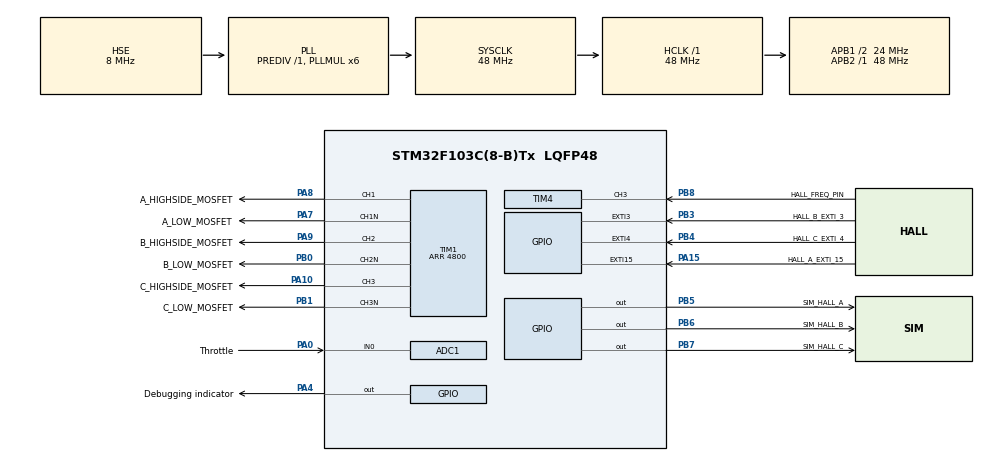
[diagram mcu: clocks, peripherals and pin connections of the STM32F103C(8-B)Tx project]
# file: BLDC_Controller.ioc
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ADC1.Channel-0\#ChannelRegularConversion=ADC_CHANNEL_0
ADC1.ExternalTrigConv=ADC_EXTERNALTRIGCONV_T3_TRGO
ADC1.NbrOfConversionFlag=1
ADC1.Rank-0\#ChannelRegularConversion=1
ADC1.SamplingTime-0\#ChannelRegularConversion=ADC_SAMPLETIME_1CYCLE_5
ADC1.master=1
Mcu.Family=STM32F1
Mcu.Name=STM32F103C(8-B)Tx
Mcu.Package=LQFP48
NVIC.ADC1_2_IRQn=true\:0\:0\:false\:false\:true\:true\:true\:true
NVIC.EXTI15_10_IRQn=true\:0\:0\:false\:false\:true\:true\:true\:true
NVIC.EXTI3_IRQn=true\:0\:0\:false\:false\:true\:true\:true\:true
NVIC.EXTI4_IRQn=true\:0\:0\:false\:false\:true\:true\:true\:true
NVIC.PriorityGroup=NVIC_PRIORITYGROUP_4
NVIC.TIM2_IRQn=true\:0\:0\:false\:false\:true\:true\:true\:true
NVIC.TIM4_IRQn=true\:0\:0\:false\:false\:true\:true\:true\:true
PA0-WKUP.GPIO_Label=Throttle
PA0-WKUP.Signal=ADCx_IN0
PA10.GPIO_Label=C_HIGHSIDE_MOSFET
PA10.Signal=S_TIM1_CH3
PA13.Mode=Serial_Wire
PA13.Signal=SYS_JTMS-SWDIO
PA14.Mode=Serial_Wire
PA14.Signal=SYS_JTCK-SWCLK
PA15.GPIO_Label=HALL_A_EXTI_15
PA15.GPIO_ModeDefaultEXTI=GPIO_MODE_IT_RISING_FALLING
PA15.GPIO_PuPd=GPIO_PULLUP
PA15.Signal=GPXTI15
PA4.GPIO_Label=Debugging indicator 
PA4.GPIO_Speed=GPIO_SPEED_FREQ_HIGH
PA4.Signal=GPIO_Output
PA7.GPIO_Label=A_LOW_MOSFET
PA7.Mode=PWM Generation1 CH1 CH1N
PA7.Signal=TIM1_CH1N
PA8.GPIO_Label=A_HIGHSIDE_MOSFET
PA8.Signal=S_TIM1_CH1
PA9.GPIO_Label=B_HIGHSIDE_MOSFET
PA9.Signal=S_TIM1_CH2
PB0.GPIO_Label=B_LOW_MOSFET
PB0.Mode=PWM Generation2 CH2 CH2N
PB0.Signal=TIM1_CH2N
PB1.GPIO_Label=C_LOW_MOSFET
PB1.Mode=PWM Generation3 CH3 CH3N
PB1.Signal=TIM1_CH3N
PB3.GPIO_Label=HALL_B_EXTI_3
PB3.GPIO_ModeDefaultEXTI=GPIO_MODE_IT_RISING_FALLING
PB3.GPIO_PuPd=GPIO_PULLUP
PB3.Signal=GPXTI3
PB4.GPIO_Label=HALL_C_EXTI_4
PB4.GPIO_ModeDefaultEXTI=GPIO_MODE_IT_RISING_FALLING
PB4.GPIO_PuPd=GPIO_PULLUP
PB4.Signal=GPXTI4
PB5.GPIO_Label=SIM_HALL_A
PB5.GPIO_Speed=GPIO_SPEED_FREQ_HIGH
PB5.PinState=GPIO_PIN_SET
PB5.Signal=GPIO_Output
PB6.GPIO_Label=SIM_HALL_B
PB6.GPIO_PuPd=GPIO_NOPULL
PB6.GPIO_Speed=GPIO_SPEED_FREQ_HIGH
PB6.PinState=GPIO_PIN_SET
PB6.Signal=GPIO_Output
PB7.GPIO_Label=SIM_HALL_C
PB7.GPIO_PuPd=GPIO_NOPULL
PB7.GPIO_Speed=GPIO_SPEED_FREQ_HIGH
PB7.PinState=GPIO_PIN_SET
PB7.Signal=GPIO_Output
PB8.GPIO_Label=HALL_FREQ_PIN
PB8.Signal=S_TIM4_CH3
PD0-OSC_IN.Mode=HSE-External-Oscillator
PD0-OSC_IN.Signal=RCC_OSC_IN
PD1-OSC_OUT.Mode=HSE-External-Oscillator
PD1-OSC_OUT.Signal=RCC_OSC_OUT
ProjectManager.HeapSize=0x200
ProjectManager.StackSize=0x400
ProjectManager.TargetToolchain=STM32CubeIDE
RCC.ADCPresc=RCC_ADCPCLK2_DIV4
RCC.AHBFreq_Value=48000000
RCC.APB1CLKDivider=RCC_HCLK_DIV2
RCC.APB1Freq_Value=24000000
RCC.APB1TimFreq_Value=48000000
RCC.APB2Freq_Value=48000000
RCC.APB2TimFreq_Value=48000000
RCC.HCLKFreq_Value=48000000
RCC.PLLMUL=RCC_PLL_MUL6
RCC.PLLSourceVirtual=RCC_PLLSOURCE_HSE
RCC.SYSCLKFreq_VALUE=48000000
RCC.SYSCLKSource=RCC_SYSCLKSOURCE_PLLCLK
RCC.USBFreq_Value=48000000
SH.ADCx_IN0.0=ADC1_IN0,IN0
SH.S_TIM1_CH1.0=TIM1_CH1,PWM Generation1 CH1 CH1N
SH.S_TIM1_CH2.0=TIM1_CH2,PWM Generation2 CH2 CH2N
SH.S_TIM1_CH3.0=TIM1_CH3,PWM Generation3 CH3 CH3N
SH.S_TIM4_CH3.0=TIM4_CH3,Input_Capture3_from_TI3
TIM1.Channel-PWM\ Generation1\ CH1\ CH1N=TIM_CHANNEL_1
TIM1.Channel-PWM\ Generation2\ CH2\ CH2N=TIM_CHANNEL_2
TIM1.Channel-PWM\ Generation3\ CH3\ CH3N=TIM_CHANNEL_3
TIM1.OCNIdleState_1=TIM_OCNIDLESTATE_RESET
TIM1.OCNIdleState_2=TIM_OCNIDLESTATE_RESET
TIM1.OCNIdleState_3=TIM_OCNIDLESTATE_RESET
TIM1.Period=4800
TIM2.AutoReloadPreload=TIM_AUTORELOAD_PRELOAD_ENABLE
TIM2.Period=733-1
TIM2.Prescaler=0
TIM3.Channel-PWM\ Generation1\ No\ Output=TIM_CHANNEL_1
TIM3.Period=49999
TIM3.Prescaler=63
TIM3.TIM_MasterOutputTrigger=TIM_TRGO_UPDATE
TIM4.Channel-Input_Capture3_from_TI3=TIM_CHANNEL_3
TIM4.Prescaler=734-1
VP_TIM1_VS_ClockSourceINT.Mode=Internal
VP_TIM2_VS_ClockSourceINT.Mode=Internal
VP_TIM3_VS_ClockSourceINT.Mode=Internal
VP_TIM3_VS_no_output1.Mode=PWM Generation1 No Output
VP_TIM4_VS_ClockSourceINT.Mode=Internal
board=custom

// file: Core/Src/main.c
/* USER CODE BEGIN Header */
/**
 ******************************************************************************
 * @file           : main.c
 * @brief          : Main program body
 ******************************************************************************
 * @attention
 *
 * Copyright (c) 2024 STMicroelectronics.
 * All rights reserved.
 *
 * This software is licensed under terms that can be found in the LICENSE file
 * in the root directory of this software component.
 * If no LICENSE file comes with this software, it is provided AS-IS.
 *
 ******************************************************************************
 */
/* USER CODE END Header */
#include "main.h"

/* USER CODE BEGIN Includes */

#include "../../hall_sensor/hall_sensor.h"
#include "../../motor_utils/motor_driver.h"

/* USER CODE END Includes */

/* USER CODE BEGIN PD */

/* ICU PD */
#define ICU_TIMCLOCK 48000000
#define ICU_TIMEOUT_COUNTS 2

/* TIM2 PD*/
#define TIM2_CLOCKRATE 48000000
#define TIM2_ARR 733

/* USER CODE END PD */

ADC_HandleTypeDef hadc1;

TIM_HandleTypeDef htim1;
TIM_HandleTypeDef htim2;
TIM_HandleTypeDef htim3;
TIM_HandleTypeDef htim4;

void SystemClock_Config(void);
static void MX_GPIO_Init(void);
static void MX_ADC1_Init(void);
static void MX_TIM1_Init(void);
static void MX_TIM3_Init(void);
static void MX_TIM2_Init(void);
static void MX_TIM4_Init(void);

/* USER CODE BEGIN 0 */

/*
 * Fetches speed % reading from throttle piece
 * Reads ADC data and remaps it to a percentage
 * @retval
 * */
uint8_t poll_speed();

/*
 * Initializes the pinouts and necessary software configs
 * of electrical phases and gate drivers of the motor inverter
 */
void init_inverter();
/**
 * Initializes the required configurations for 180 Commutation
 */
void init_commutation180();
// GLOBAL VARIABLES
HALL_SENSOR hs1, hs2, hs3;
HALL_STATE hstate;

volatile uint8_t Throttle_percent = 0;

/* ICU Variables */
volatile float hall_frequency = 0;
volatile float motor_rpm = 0;
volatile uint8_t ICU_timeout_count = 0;

/* Electrical objects */
// 6 mosfet gate drivers..
MOS_gate high_sides[3];
MOS_gate low_sides[3];

// 3 phases
Phase phases[3];

/* USER CODE END 0 */

int main(void)
{

  /* MCU Configuration--------------------------------------------------------*/

  /* Reset of all peripherals, Initializes the Flash interface and the Systick. */
  HAL_Init();

  /* Configure the system clock */
  SystemClock_Config();

  /* Initialize all configured peripherals */
  MX_GPIO_Init();
  MX_ADC1_Init();
  MX_TIM1_Init();
  MX_TIM3_Init();
  MX_TIM2_Init();
  MX_TIM4_Init();
  /* USER CODE BEGIN 2 */

	init_hall_sensor(&hs1, GPIOA, GPIO_PIN_15);
	init_hall_sensor(&hs2, GPIOB, GPIO_PIN_3);
	init_hall_sensor(&hs3, GPIOB, GPIO_PIN_4);

	HAL_TIM_Base_Start(&htim3); // Start Timer3 (Trigger Source For ADC1)
	HAL_ADC_Start_IT(&hadc1);   // 	Start ADC Conversion
	HAL_TIM_Base_Start_IT(&htim2);
	HAL_TIM_IC_Start_IT(&htim4, TIM_CHANNEL_3);

	init_inverter();
	init_commutation180();
	//start_pwm(&phases[0]);

  /* USER CODE END 2 */

  /* Infinite loop */
	while (1)
	{

    /* USER CODE BEGIN 3 */
		//set_phase_pwm_DC(&phases[0], 50);
    	//HAL_Delay(100);
    	/*set_phase_pwm_DC(&phases[0], 60);
    	HAL_Delay(100);
    	set_phase_pwm_DC(&phases[0], 100);
    	HAL_Delay(100);*/
	}
  /* USER CODE END 3 */
}

void SystemClock_Config(void)
{
  RCC_OscInitTypeDef RCC_OscInitStruct = {0};
  RCC_ClkInitTypeDef RCC_ClkInitStruct = {0};
  RCC_PeriphCLKInitTypeDef PeriphClkInit = {0};

  /** Initializes the RCC Oscillators according to the specified parameters
  * in the RCC_OscInitTypeDef structure.
  */
  RCC_OscInitStruct.OscillatorType = RCC_OSCILLATORTYPE_HSE;
  RCC_OscInitStruct.HSEState = RCC_HSE_ON;
  RCC_OscInitStruct.HSEPredivValue = RCC_HSE_PREDIV_DIV1;
  RCC_OscInitStruct.HSIState = RCC_HSI_ON;
  RCC_OscInitStruct.PLL.PLLState = RCC_PLL_ON;
  RCC_OscInitStruct.PLL.PLLSource = RCC_PLLSOURCE_HSE;
  RCC_OscInitStruct.PLL.PLLMUL = RCC_PLL_MUL6;
  if (HAL_RCC_OscConfig(&RCC_OscInitStruct) != HAL_OK)
  {
    Error_Handler();
  }

  /** Initializes the CPU, AHB and APB buses clocks
  */
  RCC_ClkInitStruct.ClockType = RCC_CLOCKTYPE_HCLK|RCC_CLOCKTYPE_SYSCLK
                              |RCC_CLOCKTYPE_PCLK1|RCC_CLOCKTYPE_PCLK2;
  RCC_ClkInitStruct.SYSCLKSource = RCC_SYSCLKSOURCE_PLLCLK;
  RCC_ClkInitStruct.AHBCLKDivider = RCC_SYSCLK_DIV1;
  RCC_ClkInitStruct.APB1CLKDivider = RCC_HCLK_DIV2;
  RCC_ClkInitStruct.APB2CLKDivider = RCC_HCLK_DIV1;

  if (HAL_RCC_ClockConfig(&RCC_ClkInitStruct, FLASH_LATENCY_1) != HAL_OK)
  {
    Error_Handler();
  }
  PeriphClkInit.PeriphClockSelection = RCC_PERIPHCLK_ADC;
  PeriphClkInit.AdcClockSelection = RCC_ADCPCLK2_DIV4;
  if (HAL_RCCEx_PeriphCLKConfig(&PeriphClkInit) != HAL_OK)
  {
    Error_Handler();
  }
}

static void MX_ADC1_Init(void)
{

  ADC_ChannelConfTypeDef sConfig = {0};

  /** Common config
  */
  hadc1.Instance = ADC1;
  hadc1.Init.ScanConvMode = ADC_SCAN_DISABLE;
  hadc1.Init.ContinuousConvMode = DISABLE;
  hadc1.Init.DiscontinuousConvMode = DISABLE;
  hadc1.Init.ExternalTrigConv = ADC_EXTERNALTRIGCONV_T3_TRGO;
  hadc1.Init.DataAlign = ADC_DATAALIGN_RIGHT;
  hadc1.Init.NbrOfConversion = 1;
  if (HAL_ADC_Init(&hadc1) != HAL_OK)
  {
    Error_Handler();
  }

  /** Configure Regular Channel
  */
  sConfig.Channel = ADC_CHANNEL_0;
  sConfig.Rank = ADC_REGULAR_RANK_1;
  sConfig.SamplingTime = ADC_SAMPLETIME_1CYCLE_5;
  if (HAL_ADC_ConfigChannel(&hadc1, &sConfig) != HAL_OK)
  {
    Error_Handler();
  }

}

static void MX_TIM1_Init(void)
{

  TIM_ClockConfigTypeDef sClockSourceConfig = {0};
  TIM_MasterConfigTypeDef sMasterConfig = {0};
  TIM_OC_InitTypeDef sConfigOC = {0};
  TIM_BreakDeadTimeConfigTypeDef sBreakDeadTimeConfig = {0};

  htim1.Instance = TIM1;
  htim1.Init.Prescaler = 0;
  htim1.Init.CounterMode = TIM_COUNTERMODE_UP;
  htim1.Init.Period = 4800;
  htim1.Init.ClockDivision = TIM_CLOCKDIVISION_DIV1;
  htim1.Init.RepetitionCounter = 0;
  htim1.Init.AutoReloadPreload = TIM_AUTORELOAD_PRELOAD_DISABLE;
  if (HAL_TIM_Base_Init(&htim1) != HAL_OK)
  {
    Error_Handler();
  }
  sClockSourceConfig.ClockSource = TIM_CLOCKSOURCE_INTERNAL;
  if (HAL_TIM_ConfigClockSource(&htim1, &sClockSourceConfig) != HAL_OK)
  {
    Error_Handler();
  }
  if (HAL_TIM_PWM_Init(&htim1) != HAL_OK)
  {
    Error_Handler();
  }
  sMasterConfig.MasterOutputTrigger = TIM_TRGO_RESET;
  sMasterConfig.MasterSlaveMode = TIM_MASTERSLAVEMODE_DISABLE;
  if (HAL_TIMEx_MasterConfigSynchronization(&htim1, &sMasterConfig) != HAL_OK)
  {
    Error_Handler();
  }
  sConfigOC.OCMode = TIM_OCMODE_PWM1;
  sConfigOC.Pulse = 0;
  sConfigOC.OCPolarity = TIM_OCPOLARITY_HIGH;
  sConfigOC.OCNPolarity = TIM_OCNPOLARITY_HIGH;
  sConfigOC.OCFastMode = TIM_OCFAST_DISABLE;
  sConfigOC.OCIdleState = TIM_OCIDLESTATE_RESET;
  sConfigOC.OCNIdleState = TIM_OCNIDLESTATE_RESET;
  if (HAL_TIM_PWM_ConfigChannel(&htim1, &sConfigOC, TIM_CHANNEL_1) != HAL_OK)
  {
    Error_Handler();
  }
  if (HAL_TIM_PWM_ConfigChannel(&htim1, &sConfigOC, TIM_CHANNEL_2) != HAL_OK)
  {
    Error_Handler();
  }
  if (HAL_TIM_PWM_ConfigChannel(&htim1, &sConfigOC, TIM_CHANNEL_3) != HAL_OK)
  {
    Error_Handler();
  }
  sBreakDeadTimeConfig.OffStateRunMode = TIM_OSSR_DISABLE;
  sBreakDeadTimeConfig.OffStateIDLEMode = TIM_OSSI_DISABLE;
  sBreakDeadTimeConfig.LockLevel = TIM_LOCKLEVEL_OFF;
  sBreakDeadTimeConfig.DeadTime = 0;
  sBreakDeadTimeConfig.BreakState = TIM_BREAK_DISABLE;
  sBreakDeadTimeConfig.BreakPolarity = TIM_BREAKPOLARITY_HIGH;
  sBreakDeadTimeConfig.AutomaticOutput = TIM_AUTOMATICOUTPUT_DISABLE;
  if (HAL_TIMEx_ConfigBreakDeadTime(&htim1, &sBreakDeadTimeConfig) != HAL_OK)
  {
    Error_Handler();
  }
  HAL_TIM_MspPostInit(&htim1);

}

static void MX_TIM2_Init(void)
{

  TIM_ClockConfigTypeDef sClockSourceConfig = {0};
  TIM_MasterConfigTypeDef sMasterConfig = {0};

  htim2.Instance = TIM2;
  htim2.Init.Prescaler = 0;
  htim2.Init.CounterMode = TIM_COUNTERMODE_UP;
  htim2.Init.Period = 733-1;
  htim2.Init.ClockDivision = TIM_CLOCKDIVISION_DIV1;
  htim2.Init.AutoReloadPreload = TIM_AUTORELOAD_PRELOAD_ENABLE;
  if (HAL_TIM_Base_Init(&htim2) != HAL_OK)
  {
    Error_Handler();
  }
  sClockSourceConfig.ClockSource = TIM_CLOCKSOURCE_INTERNAL;
  if (HAL_TIM_ConfigClockSource(&htim2, &sClockSourceConfig) != HAL_OK)
  {
    Error_Handler();
  }
  sMasterConfig.MasterOutputTrigger = TIM_TRGO_RESET;
  sMasterConfig.MasterSlaveMode = TIM_MASTERSLAVEMODE_DISABLE;
  if (HAL_TIMEx_MasterConfigSynchronization(&htim2, &sMasterConfig) != HAL_OK)
  {
    Error_Handler();
  }

}

static void MX_TIM3_Init(void)
{

  TIM_ClockConfigTypeDef sClockSourceConfig = {0};
  TIM_MasterConfigTypeDef sMasterConfig = {0};
  TIM_OC_InitTypeDef sConfigOC = {0};

  htim3.Instance = TIM3;
  htim3.Init.Prescaler = 63;
  htim3.Init.CounterMode = TIM_COUNTERMODE_UP;
  htim3.Init.Period = 49999;
  htim3.Init.ClockDivision = TIM_CLOCKDIVISION_DIV1;
  htim3.Init.AutoReloadPreload = TIM_AUTORELOAD_PRELOAD_DISABLE;
  if (HAL_TIM_Base_Init(&htim3) != HAL_OK)
  {
    Error_Handler();
  }
  sClockSourceConfig.ClockSource = TIM_CLOCKSOURCE_INTERNAL;
  if (HAL_TIM_ConfigClockSource(&htim3, &sClockSourceConfig) != HAL_OK)
  {
    Error_Handler();
  }
  if (HAL_TIM_PWM_Init(&htim3) != HAL_OK)
  {
    Error_Handler();
  }
  sMasterConfig.MasterOutputTrigger = TIM_TRGO_UPDATE;
  sMasterConfig.MasterSlaveMode = TIM_MASTERSLAVEMODE_DISABLE;
  if (HAL_TIMEx_MasterConfigSynchronization(&htim3, &sMasterConfig) != HAL_OK)
  {
    Error_Handler();
  }
  sConfigOC.OCMode = TIM_OCMODE_PWM1;
  sConfigOC.Pulse = 0;
  sConfigOC.OCPolarity = TIM_OCPOLARITY_HIGH;
  sConfigOC.OCFastMode = TIM_OCFAST_DISABLE;
  if (HAL_TIM_PWM_ConfigChannel(&htim3, &sConfigOC, TIM_CHANNEL_1) != HAL_OK)
  {
    Error_Handler();
  }

}

static void MX_TIM4_Init(void)
{

  TIM_ClockConfigTypeDef sClockSourceConfig = {0};
  TIM_MasterConfigTypeDef sMasterConfig = {0};
  TIM_IC_InitTypeDef sConfigIC = {0};

  htim4.Instance = TIM4;
  htim4.Init.Prescaler = 734-1;
  htim4.Init.CounterMode = TIM_COUNTERMODE_UP;
  htim4.Init.Period = 65535;
  htim4.Init.ClockDivision = TIM_CLOCKDIVISION_DIV1;
  htim4.Init.AutoReloadPreload = TIM_AUTORELOAD_PRELOAD_DISABLE;
  if (HAL_TIM_Base_Init(&htim4) != HAL_OK)
  {
    Error_Handler();
  }
  sClockSourceConfig.ClockSource = TIM_CLOCKSOURCE_INTERNAL;
  if (HAL_TIM_ConfigClockSource(&htim4, &sClockSourceConfig) != HAL_OK)
  {
    Error_Handler();
  }
  if (HAL_TIM_IC_Init(&htim4) != HAL_OK)
  {
    Error_Handler();
  }
  sMasterConfig.MasterOutputTrigger = TIM_TRGO_RESET;
  sMasterConfig.MasterSlaveMode = TIM_MASTERSLAVEMODE_DISABLE;
  if (HAL_TIMEx_MasterConfigSynchronization(&htim4, &sMasterConfig) != HAL_OK)
  {
    Error_Handler();
  }
  sConfigIC.ICPolarity = TIM_INPUTCHANNELPOLARITY_RISING;
  sConfigIC.ICSelection = TIM_ICSELECTION_DIRECTTI;
  sConfigIC.ICPrescaler = TIM_ICPSC_DIV1;
  sConfigIC.ICFilter = 0;
  if (HAL_TIM_IC_ConfigChannel(&htim4, &sConfigIC, TIM_CHANNEL_3) != HAL_OK)
  {
    Error_Handler();
  }
  /* USER CODE BEGIN TIM4_Init 2 */
	// Enable update interrupt
	__HAL_TIM_ENABLE_IT(&htim4, TIM_IT_UPDATE);
  /* USER CODE END TIM4_Init 2 */

}

static void MX_GPIO_Init(void)
{
  GPIO_InitTypeDef GPIO_InitStruct = {0};

  /* GPIO Ports Clock Enable */
  __HAL_RCC_GPIOD_CLK_ENABLE();
  __HAL_RCC_GPIOA_CLK_ENABLE();
  __HAL_RCC_GPIOB_CLK_ENABLE();

  /*Configure GPIO pin Output Level */
  HAL_GPIO_WritePin(Debugging_indicator_GPIO_Port, Debugging_indicator_Pin, GPIO_PIN_RESET);

  /*Configure GPIO pin Output Level */
  HAL_GPIO_WritePin(GPIOB, SIM_HALL_A_Pin|SIM_HALL_B_Pin|SIM_HALL_C_Pin, GPIO_PIN_SET);

  /*Configure GPIO pin : Debugging_indicator_Pin */
  GPIO_InitStruct.Pin = Debugging_indicator_Pin;
  GPIO_InitStruct.Mode = GPIO_MODE_OUTPUT_PP;
  GPIO_InitStruct.Pull = GPIO_NOPULL;
  GPIO_InitStruct.Speed = GPIO_SPEED_FREQ_HIGH;
  HAL_GPIO_Init(Debugging_indicator_GPIO_Port, &GPIO_InitStruct);

  /*Configure GPIO pin : HALL_A_EXTI_15_Pin */
  GPIO_InitStruct.Pin = HALL_A_EXTI_15_Pin;
  GPIO_InitStruct.Mode = GPIO_MODE_IT_RISING_FALLING;
  GPIO_InitStruct.Pull = GPIO_PULLUP;
  HAL_GPIO_Init(HALL_A_EXTI_15_GPIO_Port, &GPIO_InitStruct);

  /*Configure GPIO pins : HALL_B_EXTI_3_Pin HALL_C_EXTI_4_Pin */
  GPIO_InitStruct.Pin = HALL_B_EXTI_3_Pin|HALL_C_EXTI_4_Pin;
  GPIO_InitStruct.Mode = GPIO_MODE_IT_RISING_FALLING;
  GPIO_InitStruct.Pull = GPIO_PULLUP;
  HAL_GPIO_Init(GPIOB, &GPIO_InitStruct);

  /*Configure GPIO pins : SIM_HALL_A_Pin SIM_HALL_B_Pin SIM_HALL_C_Pin */
  GPIO_InitStruct.Pin = SIM_HALL_A_Pin|SIM_HALL_B_Pin|SIM_HALL_C_Pin;
  GPIO_InitStruct.Mode = GPIO_MODE_OUTPUT_PP;
  GPIO_InitStruct.Pull = GPIO_NOPULL;
  GPIO_InitStruct.Speed = GPIO_SPEED_FREQ_HIGH;
  HAL_GPIO_Init(GPIOB, &GPIO_InitStruct);

  /* EXTI interrupt init*/
  HAL_NVIC_SetPriority(EXTI3_IRQn, 0, 0);
  HAL_NVIC_EnableIRQ(EXTI3_IRQn);

  HAL_NVIC_SetPriority(EXTI4_IRQn, 0, 0);
  HAL_NVIC_EnableIRQ(EXTI4_IRQn);

  HAL_NVIC_SetPriority(EXTI15_10_IRQn, 0, 0);
  HAL_NVIC_EnableIRQ(EXTI15_10_IRQn);

}

/* USER CODE BEGIN 4 */

uint8_t poll_speed()
{
	//gonna use it for naive digital filter
	static uint16_t last_val = 0;
	uint16_t adc_val;
	/*
	 HAL_ADC_Start(&hadc1); // start the adc

	 HAL_ADC_PollForConversion(&hadc1, 100); // poll for conversion

	 adc_val = HAL_ADC_GetValue(&hadc1); // get the adc value

	 HAL_ADC_Stop(&hadc1); // stop adc
	 */
	adc_val = HAL_ADC_GetValue(&hadc1);
	// steps range : 496 (400 mv) => 1539 (1.24v)
	if (adc_val < 496)
		adc_val = 496;
	if (adc_val > 1539)
		adc_val = 1539;
	if(adc_val >= last_val)
		adc_val = last_val + (adc_val - last_val)/2;
	else
		adc_val = last_val - (last_val - adc_val)/2;
	last_val = adc_val;
	return (adc_val - 496) * (uint16_t) (100) / (1539 - 496);
}

void init_inverter(){
	//High side mosfets A,B,C
	init_mosfet(&high_sides[0], GPIOA, GPIO_PIN_8);//A8
	init_mosfet(&high_sides[1], GPIOA, GPIO_PIN_9);//A9
	init_mosfet(&high_sides[2], GPIOA, GPIO_PIN_10);//A10
	//Low side mosfets A,B,C
	init_mosfet(&low_sides[0], GPIOA, GPIO_PIN_7);//A7
	init_mosfet(&low_sides[1], GPIOB, GPIO_PIN_0);//B0
	init_mosfet(&low_sides[2], GPIOB, GPIO_PIN_1);//B1

	//INIT phase A
	init_phase(&phases[0], &high_sides[0], &low_sides[0], &htim1, TIM_CHANNEL_1);
	//INIT phase B
	init_phase(&phases[1], &high_sides[1], &low_sides[1], &htim1, TIM_CHANNEL_2);
	//INIT phase C
	init_phase(&phases[2], &high_sides[2], &low_sides[2], &htim1, TIM_CHANNEL_3);

}
void init_commutation180(){
	set_phase_to_complementary_pwm(&phases[0]);
	set_phase_to_complementary_pwm(&phases[1]);
	set_phase_to_complementary_pwm(&phases[2]);
}
/*
 * Hall Sensors state change ISR
 * Manages BLDC commutation.
 * 180 Commutation is implemented alongside complementary switching
 * (during unforced period of the PWM , charged coils discharge to ground without Free wheeling diodes)
 * Max Freq = 6 * 220 = ~ 1320 hz
 */
void HAL_GPIO_EXTI_Callback(uint16_t GPIO_Pin)
{

	update_hall_state(&hstate, &hs1, &hs2, &hs3);
	//{0b101 , 0b001 , 0b011 , 0b010 , 0b110 , 0b100};
	// transition , could be wrong , easily fixed by reordering conditions of the following cases..
	// in other words, set up accordingly..

	switch (hstate.state)
	{
	// 101 => 0 - 60 deg => A+ B- C+
	case 5:
		// A+
		set_phase_pwm_DC(&phases[0], Throttle_percent);
		// C+
		set_phase_pwm_DC(&phases[2], Throttle_percent);
		// B-
		set_phase_pwm_DC(&phases[1], 100);//100 for inverted logic

		break;
		// 60 - 120 => + - -
	case 1:
		// A+
		set_phase_pwm_DC(&phases[0], Throttle_percent);
		set_phase_pwm_DC(&phases[1], 100);//100 for inverted logic
		set_phase_pwm_DC(&phases[2], 100);//100 for inverted logic
		// B-
		// set_pin_as_gpio_high(GPIOB, GPIO_PIN_0);
		// C-
		// set_pin_as_gpio_high(GPIOB, GPIO_PIN_1);
		break;
		// 120 - 180 => + + -
	case 3:
		set_phase_pwm_DC(&phases[0], Throttle_percent);
		set_phase_pwm_DC(&phases[1], Throttle_percent);
		set_phase_pwm_DC(&phases[2], 100);//100 for inverted logic
		// A+
		// B+
		// C-
		break;
		// 180 - 240 => - + -
	case 2:
		set_phase_pwm_DC(&phases[0], 100);
		set_phase_pwm_DC(&phases[1], Throttle_percent);
		set_phase_pwm_DC(&phases[2], 100);//100 for inverted logic
		// B +
		// A -
		// C -
		break;
		// 240 - 300 => - + +
	case 6:
		set_phase_pwm_DC(&phases[0], 100);
		set_phase_pwm_DC(&phases[1], Throttle_percent);
		set_phase_pwm_DC(&phases[2], Throttle_percent);
		// B+
		// C+
		// A-
		break;
		// 300 - 360 => - - +
	case 4:
		set_phase_pwm_DC(&phases[0], 100);
		set_phase_pwm_DC(&phases[1], 100);//100 for inverted logic
		set_phase_pwm_DC(&phases[2], Throttle_percent);//100 for inverted logic
		// C+
		// A-
		// B-
		break;
	default:
		break;
	}
	//HAL_GPIO_TogglePin(GPIOA, GPIO_PIN_4);
	return;
}

void HAL_ADC_ConvCpltCallback(ADC_HandleTypeDef *hadc)
{
	uint8_t speed = poll_speed();
	speed = 50;
	// limit throttle to [10, 90]

	if (speed < 10)
	{
		Throttle_percent = 0;
	}
	else if(speed > 90)
	{
		Throttle_percent = 90;
	}
	else
	{
		Throttle_percent = speed;
	}

	// Map Throttle_percent to frequency ( x6 considering 6 PWM sates )
	float required_frequency = 6;

	// Change simulated Hall sensor frequency
	if ((uint32_t) required_frequency == 0)
	{
		// Set minimum frequency to 1 Hz (6 Hz considering 6 PWM sates)
		required_frequency = 6;
	}

	// Get (PSC * ARR) from required frequency
	float PSC_ARR_product = TIM2_CLOCKRATE / required_frequency;

	// Get PSC value (ARR = TIM2_ARR - 1)
	float PSC_value = PSC_ARR_product / (TIM2_ARR);

	// Set PSC value
	TIM2->PSC = (uint16_t) (PSC_value - 1);
}

void HAL_TIM_IC_CaptureCallback(TIM_HandleTypeDef *htim)
{
	static uint16_t IC_Val1 = 0;
	static uint16_t IC_Val2 = 0;
	static uint16_t difference = 0;
	static uint8_t captured_first = 0;

	if (htim->Channel == HAL_TIM_ACTIVE_CHANNEL_3)
	{
		// Reset timeout counter
		ICU_timeout_count = 0;

		if (!captured_first) // if the first rising edge is not captured
		{
			IC_Val1 = HAL_TIM_ReadCapturedValue(htim, TIM_CHANNEL_3); // read the first value
			captured_first = 1;                // set the first captured as true
		}

		else // If the first rising edge is captured, now we will capture the second edge
		{
			IC_Val2 = HAL_TIM_ReadCapturedValue(htim, TIM_CHANNEL_3); // read second value

			if (IC_Val2 > IC_Val1)
			{
				difference = IC_Val2 - IC_Val1;
			}

			else if (IC_Val1 > IC_Val2)
			{
				// In case of counter overflow before second capture
				difference = (0xFFFF - IC_Val1) + IC_Val2;
			}

			float refClock = (float) ICU_TIMCLOCK / (TIM4->PSC + 1);

			hall_frequency = refClock / difference;
			motor_rpm = 60 * hall_frequency / 23;

			__HAL_TIM_SET_COUNTER(htim, 0); // reset the counter
			captured_first = 0;             // set it back to false
		}
	}

	return;
}

/* USER CODE END 4 */

void Error_Handler(void)
{
	__disable_irq();
	while (1)
	{
	}
}
